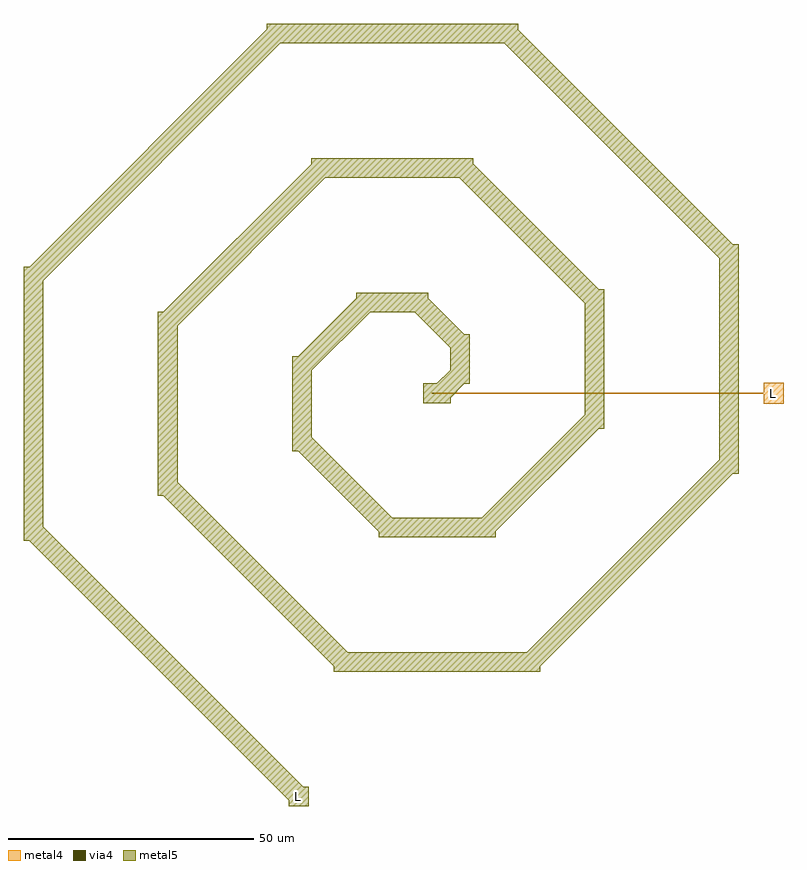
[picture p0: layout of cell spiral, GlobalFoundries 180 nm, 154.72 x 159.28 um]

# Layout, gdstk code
import gdstk
lib = gdstk.Library(unit=1e-6, precision=1e-09)
def R(c, l, rs):  # rectangles x0, y0, x1, y1
    for r in rs: c.add(gdstk.rectangle(r[:2], r[2:], *l))
def P(c, l, *ps):  # polygons
    for p in ps: c.add(gdstk.Polygon(p, *l))
via4 = (41, 0)
metal4 = (46, 0)
metal5 = (81, 0)

spiral = lib.new_cell('spiral')
R(spiral, via4, [(-0.13,-0.13,0.13,0.13)])
R(spiral, metal4, [(67.32,-2.14,71.32,2.14), (-0.26,-0.14,0.26,0.14), (-0.26,-0.14,69.32,0.14)])
R(spiral, metal5, [(-29.36,-84.08,-25.36,-80.08), (-29.36,-84.08,-25.36,-80.08), (-20.24,-56.72,-16.24,-52.72), (17.84,-56.72,21.84,-52.72), (-83.4,-30.04,-79.4,-26.04), (-11.12,-29.36,-7.12,-25.36), (8.72,-29.36,12.72,-25.36), (-56.04,-20.92,-52.04,-16.92), (58.2,-16.36,62.2,-12.36), (-28.68,-11.8,-24.68,-7.8), (30.84,-7.24,34.84,-3.24), (-2,-2,2,2), (-0.4,-2,3.6,2), (-0.64,-0.22,0.64,0.22), (3.48,1.88,7.48,5.88), (-28.68,3.48,-24.68,7.48), (3.48,8.04,7.48,12.04), (-56.04,12.6,-52.04,16.6), (-15.68,16.48,-11.68,20.48), (-4.96,16.48,-0.96,20.48), (30.84,17.16,34.84,21.16), (-83.4,21.72,-79.4,25.72), (58.2,26.28,62.2,30.28), (-24.8,43.84,-20.8,47.84), (4.16,43.84,8.16,47.84), (-33.92,71.2,-29.92,75.2), (13.28,71.2,17.28,75.2)])
P(spiral, metal5, [(-28.775,-83.495),(-83.4,-28.87),(-83.4,24.55),(-32.75,75.2),(16.11,75.2),(62.2,29.11),(62.2,-15.19),(20.67,-56.72),(-19.07,-56.72),(-56.04,-19.75),(-56.04,15.43),(-23.63,47.84),(6.99,47.84),(34.84,19.99),(34.84,-6.07),(11.55,-29.36),(-9.95,-29.36),(-28.68,-10.63),(-28.68,6.31),(-14.51,20.48),(-2.13,20.48),(7.48,10.87),(7.48,3.05),(2.43,-2),(0,-2),(0,2),(0.77,2),(3.48,4.71),(3.48,9.21),(-3.79,16.48),(-12.85,16.48),(-24.68,4.65),(-24.68,-8.97),(-8.29,-25.36),(9.89,-25.36),(30.84,-4.41),(30.84,18.33),(5.33,43.84),(-21.97,43.84),(-52.04,13.77),(-52.04,-18.09),(-17.41,-52.72),(19.01,-52.72),(58.2,-13.53),(58.2,27.45),(14.45,71.2),(-31.09,71.2),(-79.4,22.89),(-79.4,-27.21),(-25.945,-80.665)])
spiral.add(gdstk.Label('L', (-27.36,-82.08), layer=81, texttype=10))
spiral.add(gdstk.Label('L', (69.32,0), layer=46, texttype=10))

lib.write_gds('spiral.gds')
